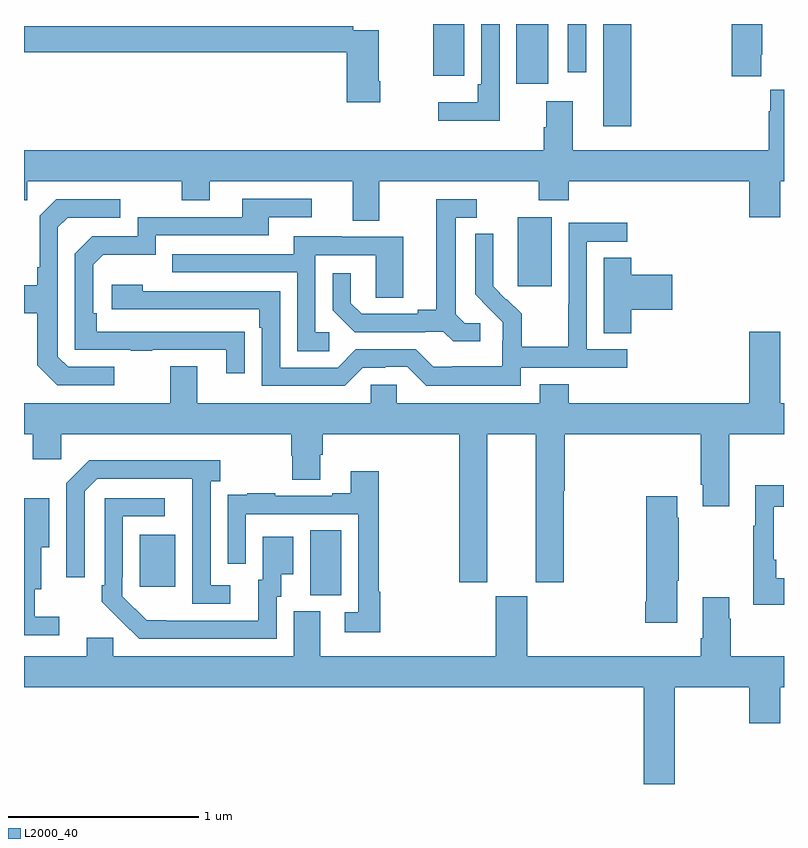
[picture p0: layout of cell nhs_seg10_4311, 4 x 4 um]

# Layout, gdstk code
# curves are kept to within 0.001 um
import gdstk
lib = gdstk.Library(unit=1e-6, precision=1e-09)
def R(c, l, rs):  # rectangles x0, y0, x1, y1
    for r in rs: c.add(gdstk.rectangle(r[:2], r[2:], *l))
def P(c, l, *ps):  # polygons
    for p in ps: c.add(gdstk.Polygon(p, *l))
L2000_40 = (2000, 40)

nhs_seg10_4311 = lib.new_cell('nhs_seg10_4311')
R(nhs_seg10_4311, L2000_40, [(354.506,1275.493,354.67,1275.836), (353.609,1275.537,353.797,1275.811), (355.598,1277.121,355.777,1277.482), (356.048,1277.961,356.195,1278.5), (355.592,1278.186,355.759,1278.5), (355.154,1278.227,355.318,1278.5), (355.863,1278.246,355.959,1278.5)])
P(nhs_seg10_4311, L2000_40, [(355.503,1278.5),(355.407,1278.5),(355.407,1278.184),(355.387,1278.184),(355.387,1278.088),(355.179,1278.088),(355.179,1277.99),(355.503,1277.99)],
  [(356.881,1278.337),(356.886,1278.337),(356.886,1278.5),(356.726,1278.5),(356.726,1278.225),(356.881,1278.225)],
  [(354.876,1278.199),(354.868,1278.199),(354.868,1278.468),(354.734,1278.468),(354.734,1278.488),(353,1278.488),(353,1278.352),(354.698,1278.352),(354.698,1278.087),(354.876,1278.087)],
  [(354.871,1277.672),(355.708,1277.672),(355.708,1277.573),(355.868,1277.573),(355.868,1277.672),(356.816,1277.672),(356.816,1277.484),(356.98,1277.484),(356.98,1277.672),(357,1277.672),(357,1278.154),(356.927,1278.154),(356.927,1278.041),(356.921,1278.041),(356.921,1277.836),(355.888,1277.836),(355.888,1278.094),(355.748,1278.094),(355.748,1277.957),(355.736,1277.957),(355.736,1277.836),(353,1277.836),(353,1277.573),(353.016,1277.573),(353.016,1277.672),(353.83,1277.672),(353.83,1277.573),(353.977,1277.573),(353.977,1277.672),(354.731,1277.672),(354.731,1277.464),(354.871,1277.464)],
  [(354.161,1276.88),(353.384,1276.881),(353.384,1276.978),(353.364,1276.978),(353.364,1277.232),(353.417,1277.285),(353.694,1277.285),(353.694,1277.388),(354.289,1277.388),(354.289,1277.484),(354.514,1277.484),(354.514,1277.58),(354.149,1277.58),(354.149,1277.484),(353.598,1277.484),(353.598,1277.382),(353.358,1277.382),(353.268,1277.292),(353.268,1276.785),(353.563,1276.785),(353.563,1276.78),(353.675,1276.78),(353.675,1276.785),(354.065,1276.785),(354.065,1276.662),(354.161,1276.662)],
  [(353.476,1276.695),(353.232,1276.695),(353.178,1276.749),(353.178,1277.43),(353.229,1277.481),(353.506,1277.481),(353.506,1277.577),(353.169,1277.577),(353.082,1277.49),(353.082,1277.221),(353.07,1277.221),(353.07,1277.125),(353,1277.125),(353,1276.978),(353.07,1276.978),(353.07,1276.705),(353.175,1276.599),(353.476,1276.599)],
  [(355.402,1276.926),(355.32,1276.926),(355.273,1276.973),(355.273,1277.481),(355.384,1277.481),(355.384,1277.577),(355.169,1277.577),(355.169,1276.997),(355.073,1276.997),(355.073,1276.974),(354.778,1276.974),(354.721,1277.031),(354.721,1277.188),(354.624,1277.188),(354.624,1276.994),(354.74,1276.878),(355.112,1276.878),(355.112,1276.881),(355.206,1276.881),(355.258,1276.829),(355.402,1276.829)],
  [(355.614,1276.692),(356.176,1276.692),(356.176,1276.788),(355.962,1276.788),(355.962,1277.355),(356.176,1277.355),(356.176,1277.454),(355.866,1277.454),(355.866,1277.024),(355.864,1277.024),(355.864,1276.801),(355.619,1276.801),(355.619,1276.975),(355.542,1277.052),(355.539,1277.049),(355.469,1277.12),(355.47,1277.396),(355.374,1277.396),(355.374,1277.078),(355.52,1276.93),(355.52,1276.833),(355.518,1276.833),(355.518,1276.699),(355.255,1276.699),(355.255,1276.695),(355.155,1276.695),(355.062,1276.788),(354.747,1276.788),(354.651,1276.692),(354.348,1276.692),(354.348,1277.094),(353.624,1277.094),(353.624,1277.128),(353.463,1277.128),(353.463,1276.998),(354.239,1276.998),(354.239,1276.901),(354.252,1276.901),(354.252,1276.596),(354.687,1276.596),(354.783,1276.692),(354.902,1276.692),(354.902,1276.695),(355.017,1276.695),(355.117,1276.595),(355.614,1276.595)],
  [(354.607,1276.878),(354.534,1276.878),(354.534,1277.283),(354.852,1277.283),(354.852,1277.059),(354.997,1277.059),(354.997,1277.379),(354.673,1277.379),(354.673,1277.383),(354.419,1277.383),(354.419,1277.289),(353.779,1277.289),(353.779,1277.193),(354.438,1277.193),(354.438,1276.777),(354.607,1276.777)],
  [(356.195,1276.997),(356.413,1276.997),(356.413,1277.18),(356.195,1277.18),(356.195,1277.27),(356.051,1277.27),(356.051,1276.873),(356.195,1276.873)],
  [(355.868,1276.603),(355.715,1276.603),(355.715,1276.504),(354.963,1276.504),(354.963,1276.602),(354.825,1276.602),(354.825,1276.504),(353.911,1276.504),(353.911,1276.699),(353.771,1276.699),(353.771,1276.504),(353,1276.504),(353,1276.34),(353.045,1276.34),(353.045,1276.209),(353.196,1276.209),(353.196,1276.34),(354.407,1276.34),(354.407,1276.227),(354.412,1276.227),(354.412,1276.102),(354.559,1276.102),(354.559,1276.234),(354.572,1276.234),(354.572,1276.34),(355.291,1276.34),(355.291,1275.561),(355.438,1275.561),(355.438,1276.34),(355.694,1276.34),(355.694,1275.561),(355.842,1275.561),(355.842,1276.044),(355.847,1276.044),(355.847,1276.34),(356.561,1276.34),(356.561,1276.075),(356.573,1276.075),(356.573,1275.963),(356.713,1275.963),(356.713,1276.34),(357,1276.34),(357,1276.504),(356.98,1276.504),(356.98,1276.879),(356.816,1276.879),(356.816,1276.504),(355.868,1276.504)],
  [(354.085,1275.546),(353.982,1275.546),(353.982,1276.094),(354.034,1276.094),(354.034,1276.204),(353.344,1276.204),(353.223,1276.083),(353.223,1275.588),(353.319,1275.588),(353.319,1276.041),(353.385,1276.107),(353.885,1276.107),(353.886,1275.45),(354.085,1275.45)],
  [(354.875,1275.512),(354.868,1275.512),(354.868,1276.147),(354.719,1276.147),(354.719,1276.03),(354.623,1276.03),(354.623,1276.017),(354.323,1276.017),(354.323,1276.03),(354.175,1276.03),(354.175,1276.023),(354.073,1276.023),(354.073,1275.914),(354.072,1275.914),(354.072,1275.66),(354.168,1275.66),(354.168,1275.921),(354.759,1275.921),(354.759,1275.405),(354.687,1275.405),(354.687,1275.3),(354.875,1275.3)],
  [(357,1275.583),(356.959,1275.583),(356.959,1275.679),(356.946,1275.679),(356.946,1275.959),(356.998,1275.959),(356.998,1276.072),(356.849,1276.072),(356.849,1275.859),(356.838,1275.859),(356.838,1275.443),(357,1275.443)],
  [(356.437,1275.571),(356.445,1275.571),(356.445,1275.902),(356.437,1275.902),(356.437,1276.015),(356.275,1276.015),(356.275,1275.46),(356.27,1275.46),(356.27,1275.348),(356.437,1275.348)],
  [(354.33,1275.486),(354.355,1275.486),(354.355,1275.605),(354.418,1275.605),(354.418,1275.802),(354.257,1275.802),(354.257,1275.576),(354.233,1275.576),(354.233,1275.36),(353.646,1275.361),(353.517,1275.489),(353.517,1275.589),(353.52,1275.589),(353.52,1275.909),(353.74,1275.909),(353.74,1276.005),(353.424,1276.005),(353.424,1275.547),(353.409,1275.547),(353.409,1275.459),(353.606,1275.264),(354.33,1275.264)],
  [(353.185,1275.379),(353.056,1275.379),(353.056,1275.524),(353.092,1275.524),(353.092,1275.746),(353.134,1275.746),(353.134,1276.003),(353,1276.003),(353,1275.282),(353.185,1275.282)],
  [(353.33,1275.27),(353.33,1275.172),(353,1275.172),(353,1275.008),(356.261,1275.008),(356.261,1274.5),(356.425,1274.5),(356.425,1275.008),(356.816,1275.008),(356.816,1274.82),(356.98,1274.82),(356.98,1275.008),(357,1275.008),(357,1275.172),(356.721,1275.172),(356.721,1275.371),(356.713,1275.371),(356.713,1275.484),(356.573,1275.484),(356.573,1275.268),(356.561,1275.268),(356.561,1275.172),(355.648,1275.172),(355.648,1275.489),(355.484,1275.489),(355.484,1275.172),(354.559,1275.172),(354.559,1275.408),(354.419,1275.408),(354.419,1275.172),(353.469,1275.172),(353.469,1275.27)])

lib.write_gds('nhs_seg10_4311.gds')
